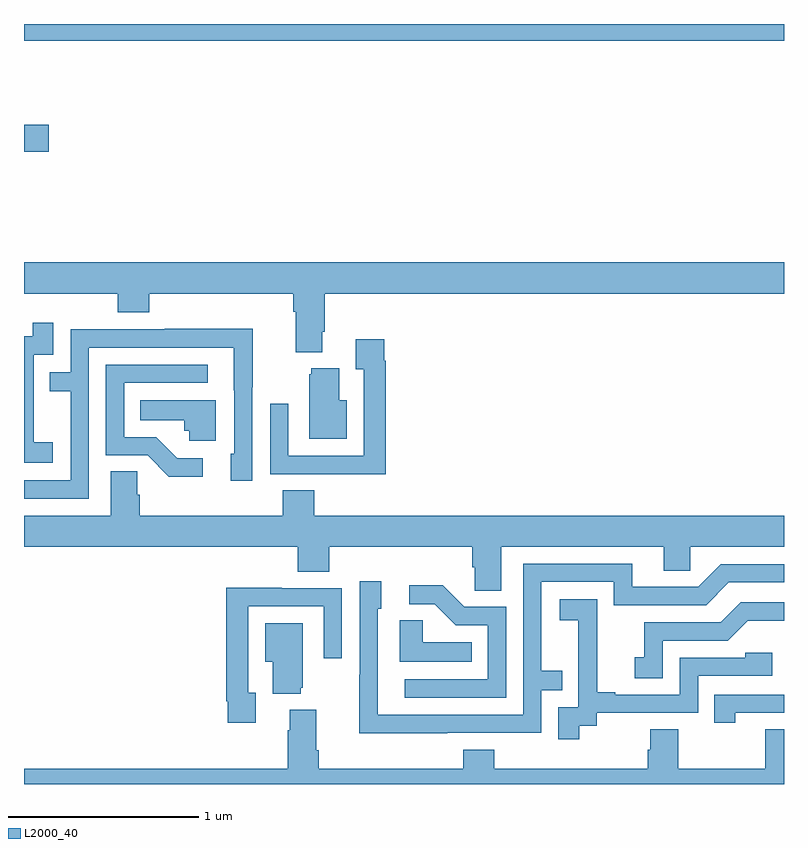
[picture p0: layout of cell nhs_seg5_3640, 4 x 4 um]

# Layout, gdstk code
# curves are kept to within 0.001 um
import gdstk
lib = gdstk.Library(unit=1e-6, precision=1e-09)
def R(c, l, rs):  # rectangles x0, y0, x1, y1
    for r in rs: c.add(gdstk.rectangle(r[:2], r[2:], *l))
def P(c, l, *ps):  # polygons
    for p in ps: c.add(gdstk.Polygon(p, *l))
L2000_40 = (2000, 40)

nhs_seg5_3640 = lib.new_cell('nhs_seg5_3640')
R(nhs_seg5_3640, L2000_40, [(325,904.127,325.129,904.269), (325,904.712,329,904.799)])
P(nhs_seg5_3640, L2000_40, [(326.569,903.178),(326.582,903.178),(326.582,903.38),(329,903.38),(329,903.544),(325,903.544),(325,903.38),(325.493,903.38),(325.493,903.281),(325.658,903.281),(325.658,903.38),(326.417,903.38),(326.417,903.284),(326.429,903.284),(326.429,903.071),(326.569,903.071)],
  [(325.15,902.599),(325.052,902.599),(325.052,902.828),(325.05,902.828),(325.05,903.057),(325.155,903.057),(325.155,903.226),(325.047,903.226),(325.047,903.156),(325,903.156),(325,902.489),(325.15,902.489)],
  [(325.341,903.096),(326.105,903.096),(326.105,902.872),(326.106,902.872),(326.106,902.538),(326.087,902.538),(326.087,902.394),(326.202,902.394),(326.202,902.887),(326.205,902.887),(326.205,903.194),(325.741,903.194),(325.741,903.192),(325.245,903.192),(325.245,902.967),(325.135,902.967),(325.135,902.866),(325.245,902.866),(325.245,902.397),(325,902.397),(325,902.301),(325.341,902.301)],
  [(326.903,903.026),(326.896,903.026),(326.896,903.139),(326.747,903.139),(326.747,902.983),(326.787,902.983),(326.787,902.526),(326.391,902.526),(326.391,902.8),(326.295,902.8),(326.295,902.43),(326.611,902.43),(326.611,902.429),(326.903,902.429)],
  [(325.942,902.514),(325.807,902.514),(325.696,902.625),(325.527,902.625),(325.527,902.91),(325.966,902.91),(325.966,903.006),(325.431,903.006),(325.431,902.529),(325.65,902.529),(325.763,902.417),(325.942,902.417)],
  [(326.698,902.818),(326.659,902.818),(326.659,902.986),(326.513,902.986),(326.513,902.955),(326.501,902.955),(326.501,902.615),(326.698,902.615)],
  [(326.008,902.818),(325.612,902.818),(325.612,902.714),(325.843,902.714),(325.843,902.658),(325.869,902.658),(325.869,902.606),(326.008,902.606)],
  [(327.511,902.048),(328.367,902.048),(328.367,901.921),(328.506,901.921),(328.506,902.048),(329,902.048),(329,902.212),(326.528,902.212),(326.528,902.345),(326.363,902.345),(326.363,902.212),(325.61,902.212),(325.61,902.321),(325.596,902.321),(325.596,902.444),(325.457,902.444),(325.457,902.212),(325,902.212),(325,902.048),(326.441,902.048),(326.441,901.915),(326.606,901.915),(326.606,902.048),(327.359,902.048),(327.359,901.939),(327.372,901.939),(327.372,901.816),(327.511,901.816)],
  [(327.227,901.068),(327.723,901.068),(327.723,901.293),(327.833,901.293),(327.833,901.394),(327.723,901.394),(327.723,901.863),(328.104,901.863),(328.104,901.74),(328.59,901.74),(328.71,901.86),(329,901.86),(329,901.956),(328.668,901.956),(328.548,901.836),(328.201,901.836),(328.201,901.959),(327.627,901.959),(327.627,901.164),(326.862,901.164),(326.862,901.722),(326.881,901.722),(326.881,901.867),(326.766,901.867),(326.766,901.373),(326.764,901.373),(326.764,901.067)],
  [(327.537,901.731),(327.318,901.731),(327.205,901.844),(327.027,901.844),(327.027,901.746),(327.161,901.746),(327.272,901.635),(327.441,901.635),(327.441,901.35),(327.003,901.35),(327.003,901.254),(327.537,901.254)],
  [(326.221,901.278),(326.181,901.278),(326.181,901.734),(326.577,901.734),(326.577,901.461),(326.673,901.461),(326.673,901.83),(326.357,901.83),(326.357,901.832),(326.065,901.832),(326.065,901.234),(326.073,901.234),(326.073,901.122),(326.221,901.122)],
  [(327.922,901.105),(328.014,901.105),(328.014,901.173),(328.548,901.173),(328.548,901.368),(328.937,901.368),(328.937,901.491),(328.797,901.491),(328.797,901.464),(328.452,901.464),(328.452,901.269),(328.111,901.269),(328.111,901.282),(328.016,901.282),(328.016,901.565),(328.017,901.565),(328.017,901.771),(327.819,901.771),(327.819,901.661),(327.917,901.661),(327.917,901.433),(327.918,901.433),(327.918,901.203),(327.813,901.203),(327.813,901.035),(327.922,901.035)],
  [(328.362,901.554),(328.704,901.554),(328.808,901.658),(329,901.658),(329,901.755),(328.772,901.755),(328.667,901.65),(328.264,901.65),(328.264,901.465),(328.215,901.465),(328.215,901.356),(328.362,901.356)],
  [(327.356,901.546),(327.099,901.546),(327.099,901.661),(326.978,901.661),(326.978,901.442),(327.356,901.442)],
  [(326.456,901.305),(326.467,901.305),(326.467,901.645),(326.27,901.645),(326.27,901.442),(326.309,901.442),(326.309,901.274),(326.456,901.274)],
  [(328.744,901.173),(329,901.173),(329,901.269),(328.633,901.269),(328.633,901.122),(328.744,901.122)],
  [(329,901.088),(328.9,901.088),(328.9,900.88),(328.443,900.88),(328.443,901.088),(328.295,901.088),(328.295,900.978),(328.283,900.978),(328.283,900.88),(327.476,900.88),(327.476,900.979),(327.311,900.979),(327.311,900.88),(326.552,900.88),(326.552,900.976),(326.539,900.976),(326.539,901.189),(326.399,901.189),(326.399,901.082),(326.387,901.082),(326.387,900.88),(325,900.88),(325,900.799),(329,900.799)])

lib.write_gds('nhs_seg5_3640.gds')
